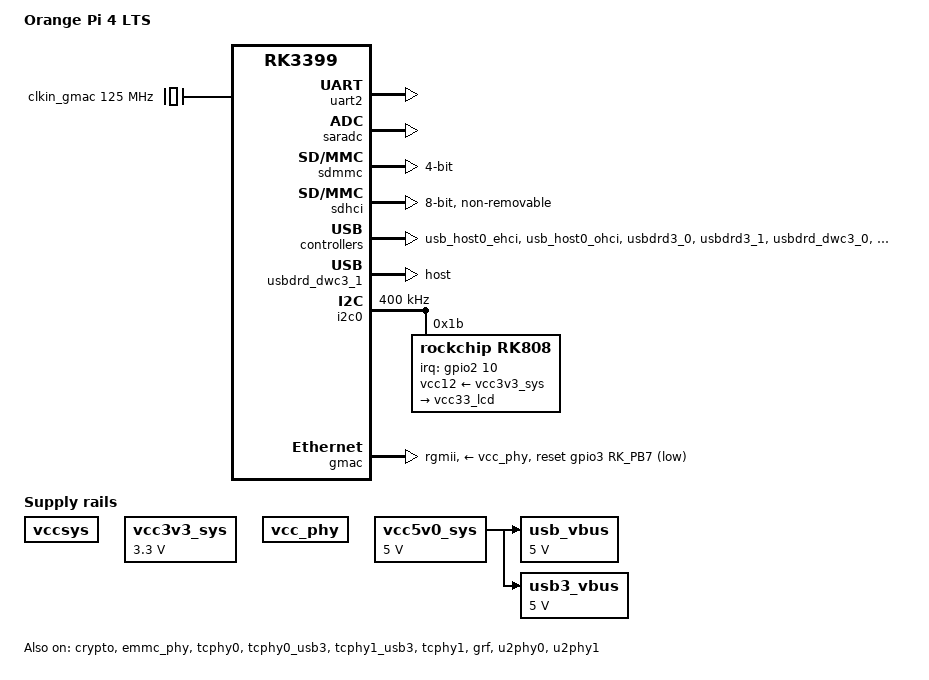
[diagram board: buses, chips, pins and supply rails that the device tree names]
/*
 * (C) Copyright 2016 Rockchip Electronics Co., Ltd
 *
 * SPDX-License-Identifier:     GPL-2.0+
 */

/dts-v1/;
#include <dt-bindings/pwm/pwm.h>
#include <dt-bindings/pinctrl/rockchip.h>
#include "rk3399.dtsi"
#include "rk3399-sdram-lpddr3-4GB-1600.dtsi"
#include "rk3399-u-boot.dtsi"
#include <linux/media-bus-format.h>
#include <dt-bindings/input/input.h>

/ {
	model = "Orange Pi 4 LTS";
	compatible = "rockchip,rk3399-orangepi-4-lts", "rockchip,rk3399";

	vccsys: vccsys {
		compatible = "regulator-fixed";
		regulator-name = "vccsys";
		regulator-boot-on;
		regulator-always-on;
	};

	vcc3v3_sys: vcc3v3-sys {
		compatible = "regulator-fixed";
		regulator-name = "vcc3v3_sys";
		regulator-always-on;
		regulator-boot-on;
		regulator-min-microvolt = <3300000>;
		regulator-max-microvolt = <3300000>;
	};

	vcc_phy: vcc-phy-regulator {
		compatible = "regulator-fixed";
		regulator-name = "vcc_phy";
		regulator-always-on;
		regulator-boot-on;
	};

	clkin_gmac: external-gmac-clock {
		compatible = "fixed-clock";
		clock-frequency = <125000000>;
		clock-output-names = "clkin_gmac";
		#clock-cells = <0>;
	};

	vcc5v0_sys: vcc5v0-sys {
		compatible = "regulator-fixed";
		u-boot,dm-pre-reloc;
		regulator-name = "vcc5v0_sys";
		regulator-always-on;
		regulator-boot-on;
		regulator-min-microvolt = <5000000>;
		regulator-max-microvolt = <5000000>;
	};

	usb_vbus: usb-vbus {
		compatible = "regulator-fixed";
		u-boot,dm-pre-reloc;
		regulator-name = "usb_vbus";
		regulator-always-on;
		regulator-boot-on;
		regulator-min-microvolt = <5000000>;
		regulator-max-microvolt = <5000000>;
		vin-supply = <&vcc5v0_sys>;

		regulator-state-mem {
		        regulator-on-in-suspend;
		};
	};

	usb3_vbus: usb3-vbus {
		compatible = "regulator-fixed";
		u-boot,dm-pre-reloc;
		regulator-name = "usb3_vbus";
		regulator-always-on;
		regulator-boot-on;
		regulator-min-microvolt = <5000000>;
		regulator-max-microvolt = <5000000>;
		vin-supply = <&vcc5v0_sys>;

		regulator-state-mem {
		        regulator-on-in-suspend;
		};
	};
};

&crypto {
	status = "okay";
};

&uart2 {
	status = "okay";
};

&emmc_phy {
	status = "okay";
};

&saradc {
	status = "okay";
};

&sdmmc {
	bus-width = <4>;
	status = "okay";
};

&sdhci {
	bus-width = <8>;
	mmc-hs400-1_8v;
	mmc-hs400-enhanced-strobe;
	non-removable;
	status = "okay";
};

&tcphy0 {
	u-boot,dm-pre-reloc;
	status = "okay";
};

&tcphy0_usb3 {
	u-boot,dm-pre-reloc;
	status = "okay";
};

&tcphy1_usb3 {
	u-boot,dm-pre-reloc;
	status = "okay";
};

&tcphy1 {
	u-boot,dm-pre-reloc;
	status = "okay";
};

&usb_host0_ehci {
	u-boot,dm-pre-reloc;
	status = "okay";
};

&usb_host0_ohci {
	u-boot,dm-pre-reloc;
	status = "okay";
};

&usbdrd3_0 {
	u-boot,dm-pre-reloc;
	status = "okay";
};

&usbdrd3_1 {
	u-boot,dm-pre-reloc;
	status = "okay";
};

&usbdrd_dwc3_0 {
	u-boot,dm-pre-reloc;
	status = "okay";
};

&usbdrd_dwc3_1 {
	u-boot,dm-pre-reloc;
	dr_mode = "host";
	status = "okay";
};

&usb_host1_ehci {
	u-boot,dm-pre-reloc;
	status = "okay";
};

&usb_host1_ohci {
	u-boot,dm-pre-reloc;
	status = "okay";
};

&grf {
	status = "okay";
	u-boot,dm-pre-reloc;
};

&pmu {
        status = "okay";
	u-boot,dm-pre-reloc;
};

&power {
        status = "okay";
	u-boot,dm-pre-reloc;
};

&u2phy0 {
	status = "okay";
	u-boot,dm-pre-reloc;

	u2phy0_otg: otg-port {
		u-boot,dm-pre-reloc;
		status = "okay";
	};

	u2phy0_host: host-port {
		phy-supply = <&usb_vbus>;
		u-boot,dm-pre-reloc;
		status = "okay";
	};
};

&u2phy1 {
	status = "okay";
	u-boot,dm-pre-reloc;

	u2phy1_otg: otg-port {
		u-boot,dm-pre-reloc;
		status = "okay";
	};

	u2phy1_host: host-port {
		phy-supply = <&usb3_vbus>;
		u-boot,dm-pre-reloc;
		status = "okay";
	};
};

&i2c0 {
	status = "okay";
	clock-frequency = <400000>;
	i2c-scl-falling-time-ns = <50>;
	i2c-scl-rising-time-ns = <100>;

	rk808: pmic@1b {
		compatible = "rockchip,rk808";
		clock-output-names = "xin32k", "wifibt_32kin";
		interrupt-parent = <&gpio2>;
		interrupts = <10 IRQ_TYPE_LEVEL_LOW>;
		pinctrl-names = "default";
		pinctrl-0 = <&pmic_int_l>;
		reg = <0x1b>;
		rockchip,system-power-controller;
		#clock-cells = <1>;
		status = "okay";

		vcc12-supply = <&vcc3v3_sys>;

		regulators {
			vcc33_lcd: SWITCH_REG2 {
				regulator-always-on;
				regulator-boot-on;
				regulator-name = "vcc33_lcd";
			};
		};
	};
};

&pinctrl {
	pmic {
		pmic_int_l: pmic-int-l {
			rockchip,pins =
				<2 10 RK_FUNC_GPIO &pcfg_pull_up>;
		};

		pmic_dvs2: pmic-dvs2 {
			rockchip,pins =
				<1 18 RK_FUNC_GPIO &pcfg_pull_down>;
		};
	};
};

&gmac {
        phy-supply = <&vcc_phy>;
	phy-mode = "rgmii";
	clock_in_out = "input";
	snps,reset-gpio = <&gpio3 RK_PB7 GPIO_ACTIVE_LOW>;
	snps,reset-active-low;
	snps,reset-delays-us = <0 10000 50000>;
	assigned-clocks = <&cru SCLK_RMII_SRC>;
	assigned-clock-parents = <&clkin_gmac>;
	pinctrl-names = "default";
	pinctrl-0 = <&rgmii_pins>;
	tx_delay = <0x28>;
	rx_delay = <0x11>;
	status = "okay";
};
